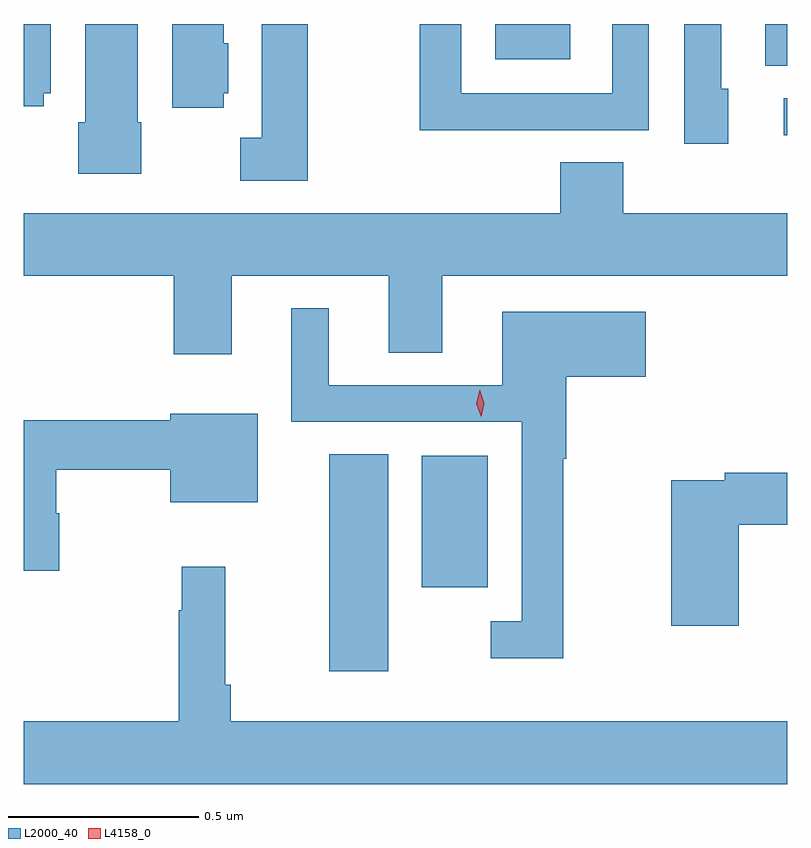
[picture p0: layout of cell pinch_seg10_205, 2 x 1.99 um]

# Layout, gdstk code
import gdstk
lib = gdstk.Library(unit=1e-6, precision=1e-09)
def R(c, l, rs):  # rectangles x0, y0, x1, y1
    for r in rs: c.add(gdstk.rectangle(r[:2], r[2:], *l))
def P(c, l, *ps):  # polygons
    for p in ps: c.add(gdstk.Polygon(p, *l))
L2000_40 = (2000, 40)
L4158_0 = (4158, 0)

pinch_seg10_205 = lib.new_cell('pinch_seg10_205')
R(pinch_seg10_205, L2000_40, [(802.247,1273.971,802.402,1274.54), (802.49,1274.192,802.663,1274.536), (803.439,1275.377,803.447,1275.474), (803.39,1275.559,803.447,1275.668), (802.682,1275.575,802.879,1275.668)])
P(pinch_seg10_205, L2000_40, [(801.97,1275.486),(801.982,1275.486),(801.982,1275.618),(801.97,1275.618),(801.97,1275.668),(801.836,1275.668),(801.836,1275.449),(801.97,1275.449)],
  [(801.499,1275.486),(801.517,1275.486),(801.517,1275.668),(801.447,1275.668),(801.447,1275.452),(801.499,1275.452)],
  [(802.191,1275.668),(802.07,1275.668),(802.07,1275.37),(802.014,1275.37),(802.014,1275.257),(802.191,1275.257)],
  [(802.769,1275.39),(803.085,1275.39),(803.085,1275.668),(802.989,1275.668),(802.989,1275.486),(802.593,1275.486),(802.593,1275.668),(802.485,1275.668),(802.485,1275.389),(802.769,1275.389)],
  [(803.293,1275.498),(803.274,1275.498),(803.274,1275.668),(803.178,1275.668),(803.178,1275.354),(803.293,1275.354)],
  [(801.754,1275.411),(801.745,1275.411),(801.745,1275.667),(801.608,1275.667),(801.608,1275.411),(801.589,1275.411),(801.589,1275.275),(801.754,1275.275)],
  [(801.991,1275.008),(802.403,1275.008),(802.403,1274.806),(802.543,1274.806),(802.543,1275.008),(803.447,1275.008),(803.447,1275.172),(803.018,1275.172),(803.018,1275.305),(802.853,1275.305),(802.853,1275.172),(801.447,1275.172),(801.447,1275.008),(801.839,1275.008),(801.839,1274.802),(801.991,1274.802)],
  [(802.861,1274.528),(802.868,1274.528),(802.868,1274.744),(803.077,1274.744),(803.077,1274.914),(802.7,1274.914),(802.7,1274.721),(802.246,1274.721),(802.246,1274.923),(802.148,1274.923),(802.148,1274.625),(802.752,1274.625),(802.752,1274.103),(802.671,1274.103),(802.671,1274.006),(802.861,1274.006)],
  [(801.54,1274.385),(801.532,1274.385),(801.532,1274.5),(801.83,1274.5),(801.83,1274.414),(802.06,1274.414),(802.06,1274.647),(801.83,1274.647),(801.83,1274.629),(801.447,1274.629),(801.447,1274.235),(801.54,1274.235)],
  [(803.321,1274.356),(803.447,1274.356),(803.447,1274.492),(803.284,1274.492),(803.284,1274.472),(803.143,1274.472),(803.143,1274.091),(803.321,1274.091)],
  [(803.447,1273.84),(801.989,1273.84),(801.989,1273.936),(801.974,1273.936),(801.974,1274.245),(801.861,1274.245),(801.861,1274.132),(801.853,1274.132),(801.853,1273.84),(801.447,1273.84),(801.447,1273.676),(803.447,1273.676)])
P(pinch_seg10_205, L4158_0, [(802.645,1274.638),(802.645,1274.638),(802.633,1274.673),(802.641,1274.71),(802.641,1274.71),(802.641,1274.71),(802.653,1274.674),(802.646,1274.638)])

lib.write_gds('pinch_seg10_205.gds')
